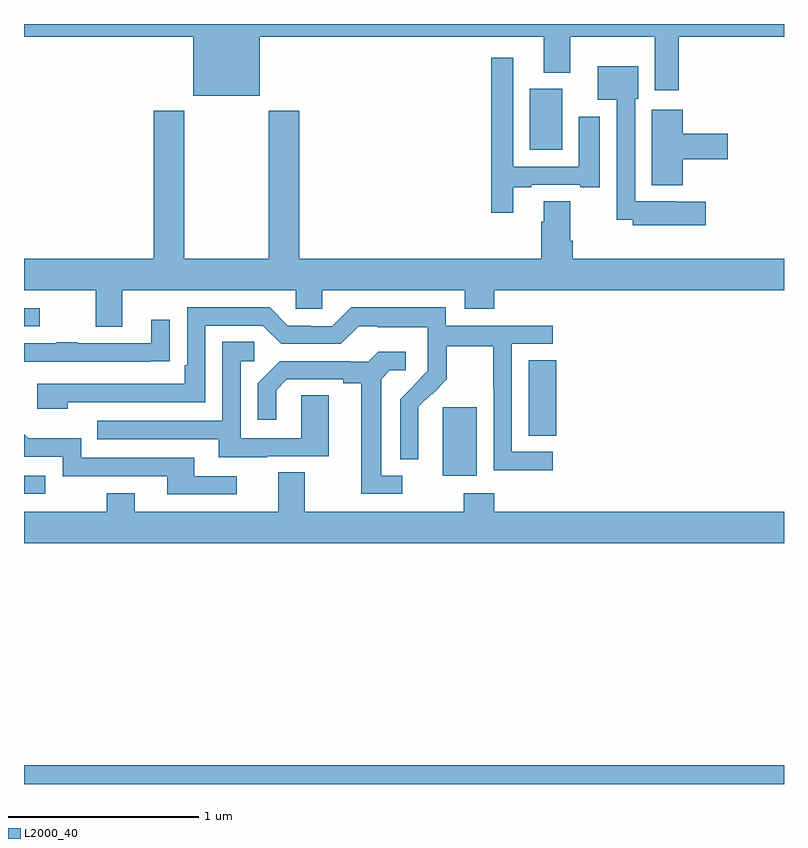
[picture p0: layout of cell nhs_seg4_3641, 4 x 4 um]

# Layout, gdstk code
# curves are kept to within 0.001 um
import gdstk
lib = gdstk.Library(unit=1e-6, precision=1e-09)
def R(c, l, rs):  # rectangles x0, y0, x1, y1
    for r in rs: c.add(gdstk.rectangle(r[:2], r[2:], *l))
def P(c, l, *ps):  # polygons
    for p in ps: c.add(gdstk.Polygon(p, *l))
L2000_40 = (2000, 40)

nhs_seg4_3641 = lib.new_cell('nhs_seg4_3641')
R(nhs_seg4_3641, L2000_40, [(303,780.9,307,781), (303,782.427,303.112,782.523), (305.204,782.522,305.383,782.883), (305.657,782.734,305.801,783.131), (303,783.309,303.082,783.405), (305.663,784.238,305.833,784.558)])
P(nhs_seg4_3641, L2000_40, [(304.24,784.832),(305.735,784.832),(305.735,784.643),(305.875,784.643),(305.875,784.832),(306.32,784.832),(306.32,784.551),(306.446,784.551),(306.446,784.832),(307,784.832),(307,784.9),(303,784.9),(303,784.832),(303.89,784.832),(303.89,784.523),(304.24,784.523)],
  [(305.575,784.041),(305.671,784.041),(305.671,784.053),(305.927,784.053),(305.927,784.041),(306.031,784.041),(306.031,784.411),(305.921,784.411),(305.921,784.149),(305.574,784.149),(305.574,784.723),(305.458,784.723),(305.458,783.906),(305.575,783.906)],
  [(306.589,783.964),(306.432,783.964),(306.432,783.966),(306.216,783.966),(306.216,784.506),(306.232,784.506),(306.232,784.678),(306.02,784.678),(306.02,784.502),(306.12,784.502),(306.12,783.869),(306.204,783.869),(306.204,783.842),(306.589,783.842)],
  [(306.467,784.187),(306.703,784.187),(306.703,784.322),(306.467,784.322),(306.467,784.45),(306.305,784.45),(306.305,784.052),(306.467,784.052)],
  [(303.517,783.5),(304.431,783.5),(304.431,783.402),(304.569,783.402),(304.569,783.5),(305.321,783.5),(305.321,783.401),(305.474,783.401),(305.474,783.5),(307,783.5),(307,783.664),(305.888,783.664),(305.888,783.76),(305.875,783.76),(305.875,783.968),(305.735,783.968),(305.735,783.86),(305.723,783.86),(305.723,783.664),(304.448,783.664),(304.448,784.444),(304.288,784.444),(304.288,783.664),(303.843,783.664),(303.843,784.444),(303.683,784.444),(303.683,783.664),(303,783.664),(303,783.5),(303.377,783.5),(303.377,783.306),(303.517,783.306)],
  [(305.782,782.649),(305.568,782.649),(305.568,783.216),(305.782,783.216),(305.782,783.312),(305.22,783.312),(305.22,783.409),(304.723,783.409),(304.623,783.309),(304.508,783.309),(304.508,783.312),(304.389,783.312),(304.293,783.408),(303.858,783.408),(303.858,783.103),(303.845,783.103),(303.845,783.006),(303.069,783.006),(303.069,782.876),(303.23,782.876),(303.23,782.91),(303.954,782.91),(303.954,783.312),(304.257,783.312),(304.353,783.216),(304.668,783.216),(304.761,783.309),(304.861,783.309),(304.861,783.305),(305.124,783.305),(305.124,783.171),(305.126,783.171),(305.126,783.074),(304.98,782.926),(304.98,782.608),(305.076,782.608),(305.075,782.885),(305.145,782.955),(305.148,782.952),(305.225,783.029),(305.225,783.204),(305.47,783.204),(305.47,782.98),(305.472,782.98),(305.472,782.551),(305.782,782.551)],
  [(303.665,783.124),(303.767,783.124),(303.767,783.343),(303.671,783.343),(303.671,783.219),(303.281,783.219),(303.281,783.224),(303.169,783.224),(303.169,783.219),(303,783.219),(303,783.123),(303.665,783.123)],
  [(304.279,782.625),(304.603,782.625),(304.603,782.945),(304.458,782.945),(304.458,782.721),(304.14,782.721),(304.14,783.126),(304.213,783.126),(304.213,783.227),(304.044,783.227),(304.044,782.811),(303.385,782.811),(303.385,782.715),(304.025,782.715),(304.025,782.621),(304.279,782.621)],
  [(304.99,782.523),(304.879,782.523),(304.879,783.031),(304.926,783.078),(305.008,783.078),(305.008,783.175),(304.864,783.175),(304.812,783.123),(304.718,783.123),(304.718,783.126),(304.346,783.126),(304.23,783.01),(304.23,782.817),(304.327,782.817),(304.327,782.973),(304.384,783.03),(304.679,783.03),(304.679,783.008),(304.775,783.008),(304.775,782.427),(304.99,782.427)],
  [(304.12,782.52),(303.895,782.52),(303.895,782.616),(303.3,782.616),(303.3,782.719),(303.023,782.719),(303,782.742),(303,782.622),(303.204,782.622),(303.204,782.52),(303.755,782.52),(303.755,782.424),(304.12,782.424)],
  [(307,782.332),(305.474,782.332),(305.474,782.431),(305.314,782.431),(305.314,782.332),(304.477,782.332),(304.477,782.54),(304.337,782.54),(304.337,782.332),(303.583,782.332),(303.583,782.431),(303.436,782.431),(303.436,782.332),(303,782.332),(303,782.168),(307,782.168)])

lib.write_gds('nhs_seg4_3641.gds')
